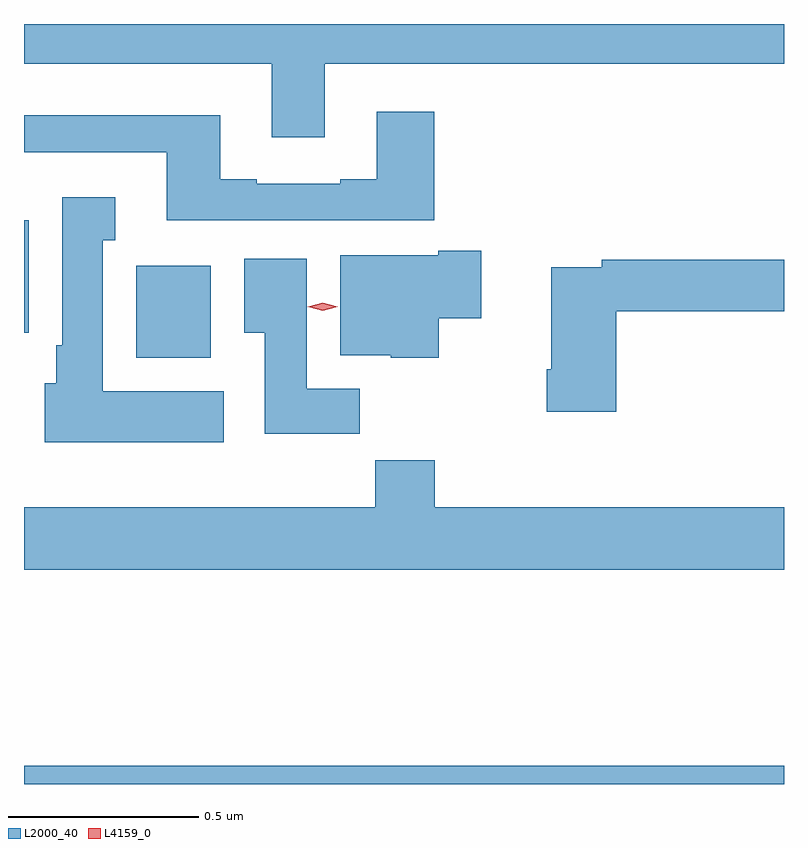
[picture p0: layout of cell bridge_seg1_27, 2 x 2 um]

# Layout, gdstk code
import gdstk
lib = gdstk.Library(unit=1e-6, precision=1e-09)
def R(c, l, rs):  # rectangles x0, y0, x1, y1
    for r in rs: c.add(gdstk.rectangle(r[:2], r[2:], *l))
def P(c, l, *ps):  # polygons
    for p in ps: c.add(gdstk.Polygon(p, *l))
L2000_40 = (2000, 40)
L4159_0 = (4159, 0)

bridge_seg1_27 = lib.new_cell('bridge_seg1_27')
R(bridge_seg1_27, L2000_40, [(1124.329,547.172,1126.329,547.22), (1124.624,548.294,1124.821,548.536), (1124.329,548.36,1124.341,548.656)])
P(bridge_seg1_27, L2000_40, [(1125.121,549.068),(1126.329,549.068),(1126.329,549.172),(1124.329,549.172),(1124.329,549.068),(1124.981,549.068),(1124.981,548.874),(1125.121,548.874)],
  [(1125.409,548.941),(1125.257,548.941),(1125.257,548.764),(1125.161,548.764),(1125.161,548.751),(1124.941,548.751),(1124.941,548.764),(1124.845,548.764),(1124.845,548.932),(1124.329,548.932),(1124.329,548.835),(1124.705,548.835),(1124.705,548.655),(1125.409,548.655)],
  [(1124.854,548.206),(1124.536,548.206),(1124.536,548.603),(1124.569,548.603),(1124.569,548.716),(1124.429,548.716),(1124.429,548.326),(1124.414,548.326),(1124.414,548.226),(1124.384,548.226),(1124.384,548.072),(1124.854,548.072)],
  [(1125.42,548.398),(1125.532,548.398),(1125.532,548.575),(1125.419,548.575),(1125.419,548.563),(1125.161,548.563),(1125.161,548.3),(1125.294,548.3),(1125.294,548.294),(1125.42,548.294)],
  [(1125.212,548.212),(1125.073,548.212),(1125.073,548.554),(1124.909,548.554),(1124.909,548.36),(1124.963,548.36),(1124.963,548.094),(1125.212,548.094)],
  [(1125.887,548.416),(1126.329,548.416),(1126.329,548.552),(1125.85,548.552),(1125.85,548.532),(1125.716,548.532),(1125.716,548.263),(1125.704,548.263),(1125.704,548.151),(1125.887,548.151)],
  [(1126.329,547.9),(1125.41,547.9),(1125.41,548.024),(1125.253,548.024),(1125.253,547.9),(1124.329,547.9),(1124.329,547.736),(1126.329,547.736)])
P(bridge_seg1_27, L4159_0, [(1125.115,548.418),(1125.076,548.428),(1125.075,548.428),(1125.076,548.428),(1125.115,548.438),(1125.155,548.428),(1125.155,548.428),(1125.155,548.428)])

lib.write_gds('bridge_seg1_27.gds')
